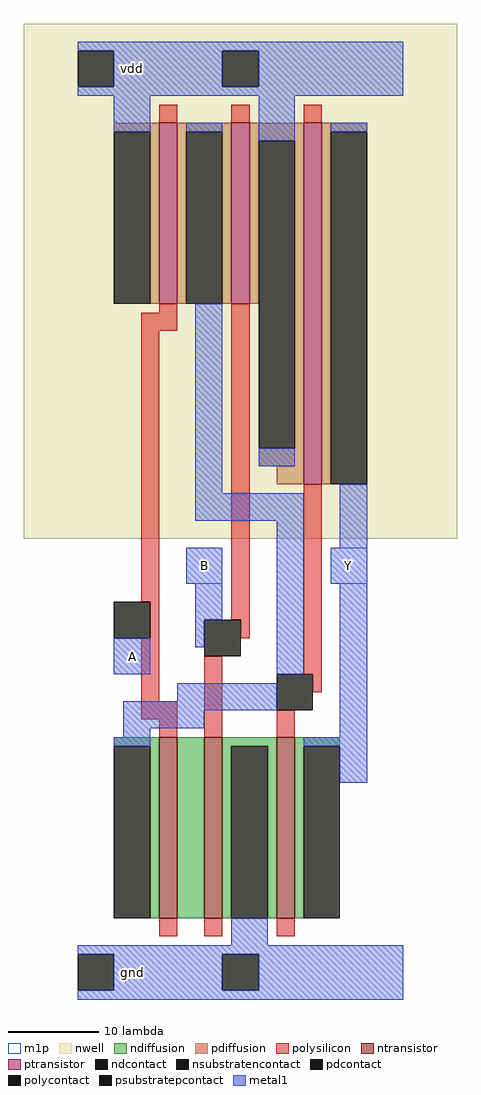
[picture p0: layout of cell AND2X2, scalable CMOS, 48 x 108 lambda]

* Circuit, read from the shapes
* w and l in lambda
.subckt AND2X2 A B Y gnd vdd
M1 n1 A n2 gnd nfet w=20 l=2
M2 gnd B n1 gnd nfet w=20 l=2
M3 Y n2 gnd gnd nfet w=20 l=2
M4 n2 A vdd vdd pfet w=20 l=2
M5 vdd B n2 vdd pfet w=20 l=2
M6 Y n2 vdd vdd pfet w=40 l=2
.ends

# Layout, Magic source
magic
tech scmos
<< nwell >>
rect -8 48 40 105
<< ntransistor >>
rect 7 6 9 26
rect 12 6 14 26
rect 20 6 22 26
<< ptransistor >>
rect 7 74 9 94
rect 15 74 17 94
rect 23 54 25 94
<< ndiffusion >>
rect 2 25 7 26
rect 6 6 7 25
rect 9 6 12 26
rect 14 25 20 26
rect 14 6 15 25
rect 19 6 20 25
rect 22 25 27 26
rect 22 6 23 25
<< pdiffusion >>
rect 2 93 7 94
rect 6 74 7 93
rect 9 93 15 94
rect 9 74 10 93
rect 14 74 15 93
rect 17 92 23 94
rect 17 74 18 92
rect 22 58 23 92
rect 18 56 23 58
rect 20 54 23 56
rect 25 93 30 94
rect 25 54 26 93
<< ndcontact >>
rect 2 6 6 25
rect 15 6 19 25
rect 23 6 27 25
<< pdcontact >>
rect 2 74 6 93
rect 10 74 14 93
rect 18 58 22 92
rect 26 54 30 93
<< psubstratepcontact >>
rect -2 -2 2 2
rect 14 -2 18 2
<< nsubstratencontact >>
rect -2 98 2 102
rect 14 98 18 102
<< polysilicon >>
rect 7 94 9 96
rect 15 94 17 96
rect 23 94 25 96
rect 7 73 9 74
rect 5 71 9 73
rect 5 41 7 71
rect 6 37 7 41
rect 15 39 17 74
rect 5 30 7 37
rect 16 37 17 39
rect 5 28 9 30
rect 7 26 9 28
rect 12 26 14 35
rect 23 33 25 54
rect 24 31 25 33
rect 20 26 22 29
rect 7 4 9 6
rect 12 4 14 6
rect 20 4 22 6
<< polycontact >>
rect 2 37 6 41
rect 12 35 16 39
rect 20 29 24 33
<< metal1 >>
rect -2 102 34 103
rect 2 98 14 102
rect 18 98 34 102
rect -2 97 34 98
rect 2 93 6 97
rect 10 93 14 94
rect 11 53 14 74
rect 18 92 22 97
rect 18 56 22 58
rect 26 93 30 94
rect 11 50 23 53
rect 10 43 14 47
rect 2 33 6 37
rect 11 39 14 43
rect 11 36 12 39
rect 20 33 23 50
rect 27 47 30 54
rect 26 43 30 47
rect 9 30 20 32
rect 3 29 20 30
rect 3 27 12 29
rect 3 26 6 27
rect 27 26 30 43
rect 2 25 6 26
rect 23 25 30 26
rect 27 21 30 25
rect 15 3 19 6
rect -2 2 34 3
rect 2 -2 14 2
rect 18 -2 34 2
rect -2 -3 34 -2
<< m1p >>
rect 10 43 14 47
rect 26 43 30 47
rect 2 33 6 37
<< labels >>
rlabel metal1 4 100 4 100 4 vdd
rlabel metal1 4 0 4 0 4 gnd
rlabel metal1 4 35 4 35 4 A
rlabel metal1 12 45 12 45 4 B
rlabel metal1 28 45 28 45 4 Y
<< end >>
